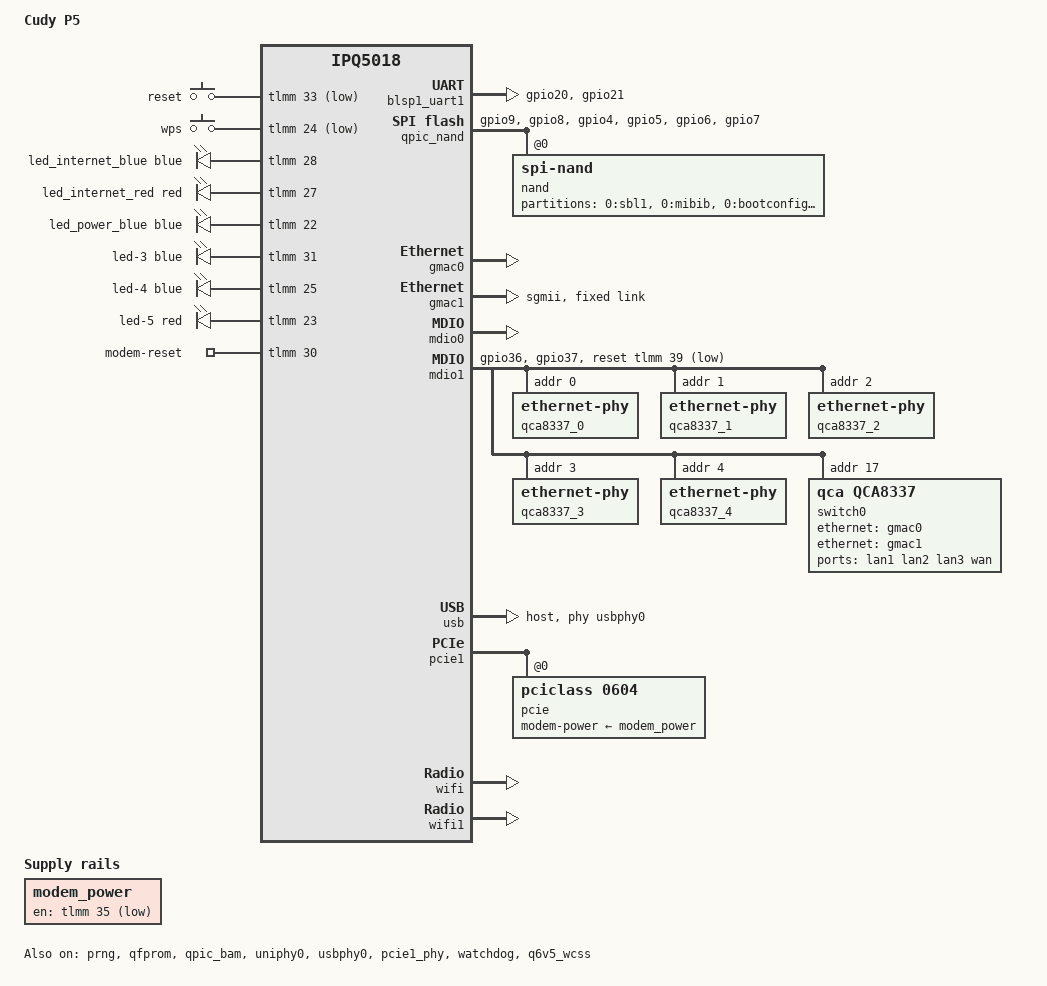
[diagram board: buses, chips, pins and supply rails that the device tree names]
// SPDX-License-Identifier: GPL-2.0-or-later OR MIT
/*
 * Cudy P5 (IPQ5018/AP-MP03.3/R21)
 *
 * QPIC SPI-NAND with dual UBI firmware slots, QCA8337 Ethernet,
 * integrated IPQ5018 2.4 GHz and external QCN6122 5 GHz radios.
 */

/dts-v1/;

#include "ipq5018.dtsi"
#include "ipq5018-ess.dtsi"
#include "ipq5018-nss.dtsi"
#include "ipq5018-qcn6122.dtsi"

#include <dt-bindings/gpio/gpio.h>
#include <dt-bindings/input/input.h>
#include <dt-bindings/leds/common.h>

/ {
	model = "Cudy P5";
	compatible = "cudy,p5", "qcom,ipq5018";

	aliases {
		label-mac-device = &gmac1;
		led-boot = &led_power_blue;
		led-failsafe = &led_internet_red;
		led-running = &led_power_blue;
		led-upgrade = &led_internet_red;
		serial0 = &blsp1_uart1;
	};

	chosen {
		bootargs-append = " root=/dev/ubiblock0_1 swiotlb=1 coherent_pool=512K";
		stdout-path = "serial0:115200n8";
	};

	keys {
		compatible = "gpio-keys";
		pinctrl-0 = <&button_pins>;
		pinctrl-names = "default";

		button-reset {
			label = "reset";
			gpios = <&tlmm 33 GPIO_ACTIVE_LOW>;
			linux,code = <KEY_RESTART>;
		};

		button-wps {
			label = "wps";
			gpios = <&tlmm 24 GPIO_ACTIVE_LOW>;
			linux,code = <KEY_WPS_BUTTON>;
		};
	};

	leds {
		compatible = "gpio-leds";
		pinctrl-0 = <&led_pins>;
		pinctrl-names = "default";

		led_internet_blue: led-0 {
			color = <LED_COLOR_ID_BLUE>;
			function = LED_FUNCTION_WAN;
			gpios = <&tlmm 28 GPIO_ACTIVE_HIGH>;
			default-state = "off";
		};

		led_internet_red: led-1 {
			color = <LED_COLOR_ID_RED>;
			function = LED_FUNCTION_WAN;
			gpios = <&tlmm 27 GPIO_ACTIVE_HIGH>;
			default-state = "off";
		};

		led_power_blue: led-2 {
			color = <LED_COLOR_ID_BLUE>;
			function = LED_FUNCTION_POWER;
			gpios = <&tlmm 22 GPIO_ACTIVE_HIGH>;
			default-state = "off";
		};

		led-3 {
			color = <LED_COLOR_ID_BLUE>;
			function = LED_FUNCTION_WLAN;
			gpios = <&tlmm 31 GPIO_ACTIVE_HIGH>;
			default-state = "off";
		};

		led-4 {
			color = <LED_COLOR_ID_BLUE>;
			function = LED_FUNCTION_MOBILE;
			gpios = <&tlmm 25 GPIO_ACTIVE_HIGH>;
			default-state = "off";
		};

		led-5 {
			color = <LED_COLOR_ID_RED>;
			function = LED_FUNCTION_MOBILE;
			gpios = <&tlmm 23 GPIO_ACTIVE_HIGH>;
			default-state = "off";
		};
	};

	/*
	 * The vendor DT uses GPIO35 as the active-low modem "5g-power" line
	 * and also exports it as "pwr". The modem needs 30 seconds after this
	 * supply is enabled before PCIe enumeration.
	 */
	modem_power: regulator-modem-power {
		compatible = "regulator-fixed";
		regulator-name = "modem-power";
		gpios = <&tlmm 35 GPIO_ACTIVE_LOW>;
		regulator-boot-on;
		startup-delay-us = <30000000>;
	};

	/*
	 * GPIO30 is an active-high modem reset trigger.
	 * Rising edge restarts the modem,
	 * a falling edge causes no observed action.
	 */
	gpio-export {
		compatible = "gpio-export";
		#size-cells = <0>;

		modem-reset {
			gpio-export,name = "modem-reset";
			gpio-export,output = <0>;
			gpios = <&tlmm 30 GPIO_ACTIVE_HIGH>;
		};
	};
};

/*
 * The NSS core uses this region for its firmware image and heap. The P5 has
 * 256 MiB RAM, so use the MP_256 size validated on the TP-Link EX511 v2.
 */
&nss_region {
	reg = <0x0 0x40000000 0x0 0x800000>;
};

&sleep_clk {
	clock-frequency = <32000>;
};

&xo_board_clk {
	clock-div = <4>;
	clock-mult = <1>;
};

/* Board pinmux and electrical configuration. */
&tlmm {
	button_pins: button-state {
		pins = "gpio24", "gpio33";
		function = "gpio";
		drive-strength = <8>;
		bias-pull-up;
	};

	led_pins: led-state {
		pins = "gpio22", "gpio23", "gpio25", "gpio27",
		       "gpio28", "gpio31";
		function = "gpio";
		drive-strength = <8>;
		bias-pull-down;
	};

	mdio1_pins: mdio-state {
		mdc-pins {
			pins = "gpio36";
			function = "mdc";
			drive-strength = <8>;
			bias-pull-up;
		};

		mdio-pins {
			pins = "gpio37";
			function = "mdio";
			drive-strength = <8>;
			bias-pull-up;
		};
	};

	serial_0_pins: uart0-state {
		pins = "gpio20", "gpio21";
		function = "blsp0_uart0";
		bias-disable;
	};

	qpic_pins: qpic-state {
		clock-pins {
			pins = "gpio9";
			function = "qspi_clk";
			drive-strength = <8>;
			bias-disable;
		};

		cs-pins {
			pins = "gpio8";
			function = "qspi_cs";
			drive-strength = <8>;
			bias-disable;
		};

		data-pins {
			pins = "gpio4", "gpio5", "gpio6", "gpio7";
			function = "qspi_data";
			drive-strength = <8>;
			bias-disable;
		};
	};
};

/* Console UART on GPIO20/21, matching the vendor MP03.3 pinmux. */
&blsp1_uart1 {
	pinctrl-0 = <&serial_0_pins>;
	pinctrl-names = "default";
	status = "okay";
};

&prng {
	status = "okay";
};

&qfprom {
	status = "okay";
};

/*
 * Requires the IPQ CMN PLL runtime-PM fix which keeps the block AHB/SYS
 * clocks enabled after a successful probe.
 */
&cmn_pll {
	status = "okay";
};

&qpic_bam {
	status = "okay";
};

&qpic_nand {
	pinctrl-0 = <&qpic_pins>;
	pinctrl-names = "default";
	status = "okay";

	nand@0 {
		compatible = "spi-nand";
		reg = <0>;
		spi-rx-bus-width = <1>;
		spi-tx-bus-width = <1>;
		nand-ecc-engine = <&qpic_nand>;
		nand-ecc-step-size = <512>;
		nand-ecc-strength = <4>;

		partitions {
			compatible = "fixed-partitions";
			#address-cells = <1>;
			#size-cells = <1>;

			partition@0 {
				label = "0:sbl1";
				reg = <0x0000000 0x0080000>;
				read-only;
			};

			partition@80000 {
				label = "0:mibib";
				reg = <0x0080000 0x0080000>;
				read-only;
			};

			/* Qualcomm A/B metadata, updated after a successful sysupgrade. */
			partition@100000 {
				label = "0:bootconfig";
				reg = <0x0100000 0x0040000>;
			};

			partition@140000 {
				label = "0:bootconfig1";
				reg = <0x0140000 0x0040000>;
			};

			partition@180000 {
				label = "0:qsee";
				reg = <0x0180000 0x0100000>;
				read-only;
			};

			partition@280000 {
				label = "0:devcfg";
				reg = <0x0280000 0x0040000>;
				read-only;
			};

			partition@2c0000 {
				label = "0:cdt";
				reg = <0x02c0000 0x0040000>;
				read-only;
			};

			partition@300000 {
				label = "0:appsblenv";
				reg = <0x0300000 0x0080000>;
				read-only;
			};

			partition@380000 {
				label = "0:appsbl";
				reg = <0x0380000 0x0140000>;
				read-only;
			};

			partition@4c0000 {
				label = "0:appsbl_1";
				reg = <0x04c0000 0x0140000>;
				read-only;
			};

			partition@600000 {
				label = "0:art";
				reg = <0x0600000 0x0100000>;
				read-only;
			};

			partition@700000 {
				label = "0:training";
				reg = <0x0700000 0x0080000>;
				read-only;
			};

			partition_bdinfo: partition@780000 {
				label = "bdinfo";
				reg = <0x0780000 0x0040000>;
				read-only;

				nvmem-layout {
					compatible = "fixed-layout";
					#address-cells = <1>;
					#size-cells = <1>;

					hw_mac_addr: mac-address@de00 {
						compatible = "mac-base";
						reg = <0xde00 0x6>;
						#nvmem-cell-cells = <1>;
					};
				};
			};

			/*
			 * U-Boot always passes ubi.mtd=rootfs. Expose the physical
			 * rootfs_1 slot as "rootfs" to Linux so the selected OpenWrt
			 * slot is attached as ubi0. The stock slot stays protected.
			 */
			partition@7c0000 {
				label = "rootfs";
				reg = <0x07c0000 0x2400000>;
				linux,rootfs;
			};

			partition@2bc0000 {
				label = "rootfs_1";
				reg = <0x2bc0000 0x2400000>;
				read-only;
			};
		};
	};
};

/*
 * ================================================================
 *     _________________________         ________________________
 *    |         IPQ5018         |       |         QCA8337        |
 *    | +-------+   +--------+  |       | +--------+  +------+   |
 *    | | GMAC0 |---| GE PHY |--+--MDI--+-|  PHY4  |--| MAC5 |   |
 *    | +-------+   +--------+  |       | +--------+  +------+   |
 *    | +-------+   +--------+  |       | +--------+  +------+   |
 *    | | GMAC1 |---| UNIPHY0|--+-SGMII-+-| SerDes |--| MAC6 |   |
 *    | +-------+   +--------+  |       | +--------+  +------+   |
 *    |_________________________|       |________________________|
 *
 * The switch has two CPU conduits. GMAC0 reaches QCA8337 port 5 through
 * the internal GE PHY, while GMAC1 reaches port 6 through UNIPHY0/SGMII.
 * External jacks use ports 1 through 4.
 * ================================================================
 */

&uniphy0 {
	assigned-clocks = <&uniphy0 UNIPHY_CLK_REF>;
	assigned-clock-rates = <UNIPHY_REFCLK_25MHZ>;
	status = "okay";
};

&gmac0 {
	nvmem-cells = <&hw_mac_addr 1>;
	nvmem-cell-names = "mac-address";
	status = "okay";
};

&gmac1 {
	nvmem-cells = <&hw_mac_addr 0>;
	nvmem-cell-names = "mac-address";
	phy-mode = "sgmii";
	status = "okay";

	fixed-link {
		speed = <1000>;
		full-duplex;
	};
};

&mdio0 {
	status = "okay";
};

&ge_phy {
	qcom,dac-preset-short-cable;
};

&mdio1 {
	pinctrl-0 = <&mdio1_pins>;
	pinctrl-names = "default";
	reset-gpios = <&tlmm 39 GPIO_ACTIVE_LOW>;
	status = "okay";

	qca8337_0: ethernet-phy@0 {
		reg = <0>;
	};

	qca8337_1: ethernet-phy@1 {
		reg = <1>;
	};

	qca8337_2: ethernet-phy@2 {
		reg = <2>;
	};

	qca8337_3: ethernet-phy@3 {
		reg = <3>;
	};

	qca8337_4: ethernet-phy@4 {
		reg = <4>;
	};

	switch0: ethernet-switch@11 {
		compatible = "qca,qca8337";
		reg = <17>;
		#address-cells = <1>;
		#size-cells = <0>;

		ports {
			#address-cells = <1>;
			#size-cells = <0>;

			port@1 {
				reg = <1>;
				label = "lan1";
				phy-handle = <&qca8337_0>;
			};

			port@2 {
				reg = <2>;
				label = "lan2";
				phy-handle = <&qca8337_1>;
			};

			port@3 {
				reg = <3>;
				label = "lan3";
				phy-handle = <&qca8337_2>;
			};

			port@4 {
				reg = <4>;
				label = "wan";
				phy-handle = <&qca8337_3>;
			};

			/* Internal WAN conduit through the IPQ5018 GE PHY. */
			port@5 {
				reg = <5>;
				phy-handle = <&qca8337_4>;
				phy-mode = "gmii";
				ethernet = <&gmac0>;
			};

			port@6 {
				reg = <6>;
				phy-mode = "sgmii";
				ethernet = <&gmac1>;
				qca,sgmii-enable-pll;

				fixed-link {
					speed = <1000>;
					full-duplex;
				};
			};
		};
	};
};

&usbphy0 {
	status = "okay";
};

&usb {
	dr_mode = "host";
	maximum-speed = "high-speed";
	phys = <&usbphy0>;
	phy-names = "usb2-phy";
	qcom,select-utmi-as-pipe-clk;
	status = "okay";
};

/*
 * QCN6122 is managed by WCSS multi-PD firmware. Linux leaves PCIe0 at the
 * disabled state inherited from ipq5018.dtsi; the M.2 modem uses PCIe1.
 */
&pcie1_phy {
	status = "okay";
};

&pcie1 {
	perst-gpios = <&tlmm 18 GPIO_ACTIVE_LOW>;
	status = "okay";

	/*
	 * This is the root port defined by ipq5018.dtsi. PCI slot power control
	 * owns GPIO35 and rescans the bus after enabling the modem supply.
	 * GPIO18 is the stock active-low PERST# line.
	 */
	pcie@0 {
		compatible = "pciclass,0604";
		modem-power-supply = <&modem_power>;
	};
};

&watchdog {
	status = "okay";
	timeout-sec = <30>;
};

/*
 * The integrated radio uses user-PD1. QCN6122 uses user-PD2, with GPIO15
 * passed to WCSS firmware as its reset line.
 */
&q6v5_wcss {
	/* PCIe0, payload length 4, user-PD2, reset GPIO15. */
	boot-args = <0x1 4 2 15 0 0>;
	status = "okay";
};

&wifi {
	qcom,rproc = <&q6_wcss_pd1>;
	qcom,userpd-subsys-name = "q6v5_wcss_userpd1";
	qcom,ath11k-calibration-variant = "Cudy-P5";
	qcom,ath11k-fw-memory-mode = <2>;
	qcom,bdf-addr = <0x4c400000>;
	ieee80211-freq-limit = <2400000 2483000>;
	status = "okay";
};

&wifi1 {
	qcom,rproc = <&q6_wcss_pd2>;
	qcom,userpd-subsys-name = "q6v5_wcss_userpd2";
	qcom,ath11k-calibration-variant = "Cudy-P5";
	qcom,ath11k-fw-memory-mode = <2>;
	qcom,bdf-addr = <0x4d100000>;
	qcom,m3-dump-addr = <0x4df00000>;
	status = "okay";
};
